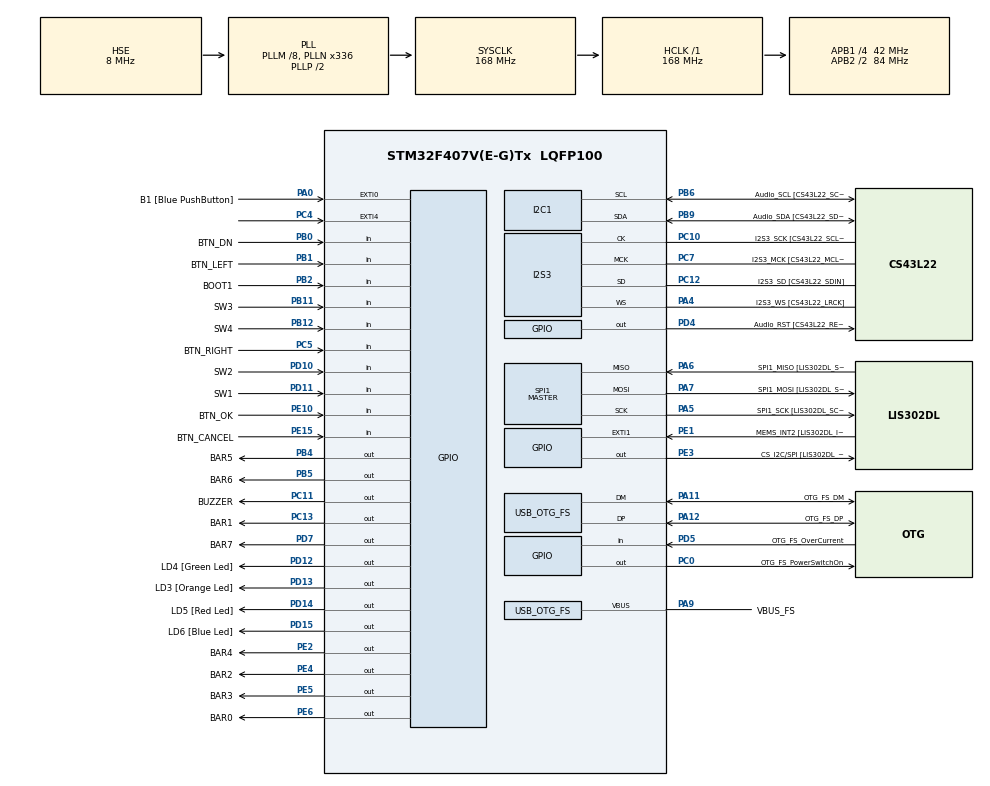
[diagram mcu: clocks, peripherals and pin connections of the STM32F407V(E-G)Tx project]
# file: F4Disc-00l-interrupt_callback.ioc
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I2S3.AudioFreq-Half_Duplex_Master=I2S_AUDIOFREQ_96K
I2S3.ErrorAudioFreq=-2.34 %
I2S3.ErrorAudioFreq-Half_Duplex_Master=0.8 %
I2S3.FullDuplexMode=I2S_FULLDUPLEXMODE_DISABLE
I2S3.Instance=SPI$Index
I2S3.RealAudioFreq=93.75 KHz
I2S3.RealAudioFreq-Half_Duplex_Master=96.774 KHz
I2S3.VirtualMode=I2S_MODE_MASTER
Mcu.Family=STM32F4
Mcu.Name=STM32F407V(E-G)Tx
Mcu.Package=LQFP100
NVIC.EXTI4_IRQn=true\:0\:2\:false\:false\:true\:true\:true\:true
NVIC.OTG_FS_IRQn=true\:0\:0\:false\:false\:true\:true\:true\:true
NVIC.PriorityGroup=NVIC_PRIORITYGROUP_0
PA0-WKUP.GPIO_Label=B1 [Blue PushButton]
PA0-WKUP.GPIO_ModeDefaultEXTI=GPIO_MODE_EVT_RISING
PA0-WKUP.GPIO_PuPd=GPIO_NOPULL
PA0-WKUP.Signal=GPXTI0
PA10.GPIO_Label=OTG_FS_ID
PA10.GPIO_Mode=GPIO_MODE_AF_PP
PA10.GPIO_PuPd=GPIO_NOPULL
PA10.GPIO_Speed=GPIO_SPEED_FREQ_LOW
PA10.Signal=USB_OTG_FS_ID
PA11.GPIO_Label=OTG_FS_DM
PA11.GPIO_Mode=GPIO_MODE_AF_PP
PA11.GPIO_PuPd=GPIO_NOPULL
PA11.GPIO_Speed=GPIO_SPEED_FREQ_LOW
PA11.Mode=Device_Only
PA11.Signal=USB_OTG_FS_DM
PA12.GPIO_Label=OTG_FS_DP
PA12.GPIO_Mode=GPIO_MODE_AF_PP
PA12.GPIO_PuPd=GPIO_NOPULL
PA12.GPIO_Speed=GPIO_SPEED_FREQ_LOW
PA12.Mode=Device_Only
PA12.Signal=USB_OTG_FS_DP
PA13.GPIO_Label=SWDIO
PA13.Mode=Serial_Wire
PA13.Signal=SYS_JTMS-SWDIO
PA14.GPIO_Label=SWCLK
PA14.Mode=Serial_Wire
PA14.Signal=SYS_JTCK-SWCLK
PA4.GPIO_Label=I2S3_WS [CS43L22_LRCK]
PA4.GPIO_Mode=GPIO_MODE_AF_PP
PA4.GPIO_PuPd=GPIO_NOPULL
PA4.GPIO_Speed=GPIO_SPEED_FREQ_LOW
PA4.Mode=Half_Duplex_Master
PA4.Signal=I2S3_WS
PA5.GPIO_Label=SPI1_SCK [LIS302DL_SCL/SPC]
PA5.GPIO_Mode=GPIO_MODE_AF_PP
PA5.GPIO_PuPd=GPIO_NOPULL
PA5.GPIO_Speed=GPIO_SPEED_FREQ_LOW
PA5.Mode=Full_Duplex_Master
PA5.Signal=SPI1_SCK
PA6.GPIO_Label=SPI1_MISO [LIS302DL_SDO]
PA6.GPIO_Mode=GPIO_MODE_AF_PP
PA6.GPIO_PuPd=GPIO_NOPULL
PA6.GPIO_Speed=GPIO_SPEED_FREQ_LOW
PA6.Mode=Full_Duplex_Master
PA6.Signal=SPI1_MISO
PA7.GPIO_Label=SPI1_MOSI [LIS302DL_SDA/SDI/SDO]
PA7.GPIO_Mode=GPIO_MODE_AF_PP
PA7.GPIO_PuPd=GPIO_NOPULL
PA7.GPIO_Speed=GPIO_SPEED_FREQ_LOW
PA7.Mode=Full_Duplex_Master
PA7.Signal=SPI1_MOSI
PA9.GPIO_Label=VBUS_FS
PA9.GPIO_Mode=GPIO_MODE_INPUT
PA9.GPIO_PuPd=GPIO_NOPULL
PA9.Mode=Activate_VBUS
PA9.Signal=USB_OTG_FS_VBUS
PB0.GPIO_Label=BTN_DN
PB0.GPIO_PuPd=GPIO_PULLUP
PB0.Signal=GPIO_Input
PB1.GPIO_Label=BTN_LEFT
PB1.GPIO_PuPd=GPIO_PULLUP
PB1.Signal=GPIO_Input
PB10.GPIO_Label=CLK_IN [MP45DT02_CLK]
PB10.GPIO_Mode=GPIO_MODE_AF_PP
PB10.GPIO_PuPd=GPIO_NOPULL
PB10.GPIO_Speed=GPIO_SPEED_FREQ_LOW
PB10.Signal=I2S2_CK
PB11.GPIO_Label=SW3
PB11.GPIO_PuPd=GPIO_PULLUP
PB11.Signal=GPIO_Input
PB12.GPIO_Label=SW4
PB12.GPIO_PuPd=GPIO_PULLUP
PB12.Signal=GPIO_Input
PB2.GPIO_Label=BOOT1
PB2.GPIO_Mode=GPIO_MODE_INPUT
PB2.GPIO_PuPd=GPIO_NOPULL
PB2.Signal=GPIO_Input
PB3.GPIO_Label=SWO
PB3.Signal=SYS_JTDO-SWO
PB4.GPIO_Label=BAR5
PB4.Signal=GPIO_Output
PB5.GPIO_Label=BAR6
PB5.Signal=GPIO_Output
PB6.GPIO_Label=Audio_SCL [CS43L22_SCL]
PB6.GPIO_Mode=GPIO_MODE_AF_OD
PB6.GPIO_Pu=GPIO_PULLUP
PB6.GPIO_PuPd=GPIO_NOPULL
PB6.GPIO_Speed=GPIO_SPEED_FREQ_LOW
PB6.Mode=I2C
PB6.Signal=I2C1_SCL
PB9.GPIO_Label=Audio_SDA [CS43L22_SDA]
PB9.GPIO_Mode=GPIO_MODE_AF_OD
PB9.GPIO_Pu=GPIO_PULLUP
PB9.GPIO_PuPd=GPIO_NOPULL
PB9.GPIO_Speed=GPIO_SPEED_FREQ_LOW
PB9.Mode=I2C
PB9.Signal=I2C1_SDA
PC0.GPIO_Label=OTG_FS_PowerSwitchOn
PC0.GPIO_PuPd=GPIO_NOPULL
PC0.GPIO_Speed=GPIO_SPEED_FREQ_LOW
PC0.PinState=GPIO_PIN_SET
PC0.Signal=GPIO_Output
PC10.GPIO_Label=I2S3_SCK [CS43L22_SCLK]
PC10.GPIO_Mode=GPIO_MODE_AF_PP
PC10.GPIO_PuPd=GPIO_NOPULL
PC10.GPIO_Speed=GPIO_SPEED_FREQ_LOW
PC10.Mode=Half_Duplex_Master
PC10.Signal=I2S3_CK
PC11.GPIO_Label=BUZZER
PC11.Signal=GPIO_Output
PC12.GPIO_Label=I2S3_SD [CS43L22_SDIN]
PC12.GPIO_Mode=GPIO_MODE_AF_PP
PC12.GPIO_PuPd=GPIO_NOPULL
PC12.GPIO_Speed=GPIO_SPEED_FREQ_LOW
PC12.Mode=Half_Duplex_Master
PC12.Signal=I2S3_SD
PC13-ANTI_TAMP.GPIO_Label=BAR1
PC13-ANTI_TAMP.Signal=GPIO_Output
PC14-OSC32_IN.GPIO_Label=PC14-OSC32_IN
PC14-OSC32_IN.Mode=LSE-External-Oscillator
PC14-OSC32_IN.Signal=RCC_OSC32_IN
PC15-OSC32_OUT.GPIO_Label=PC15-OSC32_OUT
PC15-OSC32_OUT.Mode=LSE-External-Oscillator
PC15-OSC32_OUT.Signal=RCC_OSC32_OUT
PC3.GPIO_Label=PDM_OUT [MP45DT02_DOUT]
PC3.GPIO_Mode=GPIO_MODE_AF_PP
PC3.GPIO_PuPd=GPIO_NOPULL
PC3.GPIO_Speed=GPIO_SPEED_FREQ_LOW
PC3.Signal=I2S2_SD
PC4.GPIO_ModeDefaultEXTI=GPIO_MODE_IT_FALLING
PC4.GPIO_PuPd=GPIO_PULLUP
PC4.Signal=GPXTI4
PC5.GPIO_Label=BTN_RIGHT
PC5.GPIO_PuPd=GPIO_PULLUP
PC5.Signal=GPIO_Input
PC7.GPIO_Label=I2S3_MCK [CS43L22_MCLK]
PC7.GPIO_Mode=GPIO_MODE_AF_PP
PC7.GPIO_PuPd=GPIO_NOPULL
PC7.GPIO_Speed=GPIO_SPEED_FREQ_LOW
PC7.Mode=Master_Clock_Activated
PC7.Signal=I2S3_MCK
PD10.GPIO_Label=SW2
PD10.GPIO_PuPd=GPIO_PULLUP
PD10.Signal=GPIO_Input
PD11.GPIO_Label=SW1
PD11.GPIO_PuPd=GPIO_PULLUP
PD11.Signal=GPIO_Input
PD12.GPIO_Label=LD4 [Green Led]
PD12.GPIO_PuPd=GPIO_NOPULL
PD12.GPIO_Speed=GPIO_SPEED_FREQ_LOW
PD12.Signal=GPIO_Output
PD13.GPIO_Label=LD3 [Orange Led]
PD13.GPIO_PuPd=GPIO_NOPULL
PD13.GPIO_Speed=GPIO_SPEED_FREQ_LOW
PD13.Signal=GPIO_Output
PD14.GPIO_Label=LD5 [Red Led]
PD14.GPIO_PuPd=GPIO_NOPULL
PD14.GPIO_Speed=GPIO_SPEED_FREQ_LOW
PD14.Signal=GPIO_Output
PD15.GPIO_Label=LD6 [Blue Led]
PD15.GPIO_PuPd=GPIO_NOPULL
PD15.GPIO_Speed=GPIO_SPEED_FREQ_LOW
PD15.Signal=GPIO_Output
PD4.GPIO_Label=Audio_RST [CS43L22_RESET]
PD4.GPIO_PuPd=GPIO_NOPULL
PD4.GPIO_Speed=GPIO_SPEED_FREQ_LOW
PD4.Signal=GPIO_Output
PD5.GPIO_Label=OTG_FS_OverCurrent
PD5.GPIO_Mode=GPIO_MODE_INPUT
PD5.GPIO_PuPd=GPIO_NOPULL
PD5.Signal=GPIO_Input
PD7.GPIO_Label=BAR7
PD7.Signal=GPIO_Output
PE1.GPIO_Label=MEMS_INT2 [LIS302DL_INT2]
PE1.GPIO_ModeDefaultEXTI=GPIO_MODE_EVT_RISING
PE1.GPIO_PuPd=GPIO_NOPULL
PE1.Signal=GPXTI1
PE10.GPIO_Label=BTN_OK
PE10.GPIO_PuPd=GPIO_PULLUP
PE10.Signal=GPIO_Input
PE15.GPIO_Label=BTN_CANCEL
PE15.GPIO_PuPd=GPIO_PULLUP
PE15.Signal=GPIO_Input
PE2.GPIO_Label=BAR4
PE2.Signal=GPIO_Output
PE3.GPIO_Label=CS_I2C/SPI [LIS302DL_CS_I2C/SPI]
PE3.GPIO_PuPd=GPIO_NOPULL
PE3.GPIO_Speed=GPIO_SPEED_FREQ_LOW
PE3.Signal=GPIO_Output
PE4.GPIO_Label=BAR2
PE4.Signal=GPIO_Output
PE5.GPIO_Label=BAR3
PE5.Signal=GPIO_Output
PE6.GPIO_Label=BAR0
PE6.Signal=GPIO_Output
PH0-OSC_IN.GPIO_Label=PH0-OSC_IN
PH0-OSC_IN.Mode=HSE-External-Oscillator
PH0-OSC_IN.Signal=RCC_OSC_IN
PH1-OSC_OUT.GPIO_Label=PH1-OSC_OUT
PH1-OSC_OUT.Mode=HSE-External-Oscillator
PH1-OSC_OUT.Signal=RCC_OSC_OUT
ProjectManager.HeapSize=0x200
ProjectManager.StackSize=0x400
ProjectManager.TargetToolchain=STM32CubeIDE
RCC.48MHZClocksFreq_Value=48000000
RCC.AHBFreq_Value=168000000
RCC.APB1CLKDivider=RCC_HCLK_DIV4
RCC.APB1Freq_Value=42000000
RCC.APB1TimFreq_Value=84000000
RCC.APB2CLKDivider=RCC_HCLK_DIV2
RCC.APB2Freq_Value=84000000
RCC.APB2TimFreq_Value=168000000
RCC.CortexFreq_Value=168000000
RCC.HCLKFreq_Value=168000000
RCC.HSE_VALUE=8000000
RCC.HSI_VALUE=16000000
RCC.PLLM=8
RCC.PLLN=336
RCC.PLLQ=7
RCC.SYSCLKFreq_VALUE=168000000
RCC.SYSCLKSource=RCC_SYSCLKSOURCE_PLLCLK
RCC.VCOOutputFreq_Value=336000000
SPI1.BaudRatePrescaler-Full_Duplex_Master=SPI_BAUDRATEPRESCALER_2
SPI1.CalculateBaudRate-Full_Duplex_Master=42.0 MBits/s
SPI1.Direction=SPI_DIRECTION_2LINES
SPI1.Mode=SPI_MODE_MASTER
SPI1.Mode-Full_Duplex_Master=SPI_MODE_MASTER
SPI1.VirtualType=VM_MASTER
USB_DEVICE.CLASS_NAME_FS=CDC
USB_DEVICE.VirtualMode-CDC_FS=Cdc
USB_DEVICE.VirtualModeFS=Cdc_FS
USB_OTG_FS.VirtualMode=Device_Only
VP_USB_DEVICE_VS_USB_DEVICE_CDC_FS.Mode=CDC_FS
board=STM32F407G-DISC1

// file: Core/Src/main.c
/* USER CODE BEGIN Header */
/**
  ******************************************************************************
  * @file           : main.c
  * @brief          : Main program body
  ******************************************************************************
  * @attention
  *
  * Copyright (c) 2023 STMicroelectronics.
  * All rights reserved.
  *
  * This software is licensed under terms that can be found in the LICENSE file
  * in the root directory of this software component.
  * If no LICENSE file comes with this software, it is provided AS-IS.
  *
  ******************************************************************************
  */
/* USER CODE END Header */
#include "main.h"
#include "usb_device.h"

/* USER CODE BEGIN Includes */
#include <stdio.h>
/* USER CODE END Includes */

I2C_HandleTypeDef hi2c1;

I2S_HandleTypeDef hi2s3;

SPI_HandleTypeDef hspi1;

/* USER CODE BEGIN PV */
uint32_t mstick=0;
/* USER CODE END PV */

void SystemClock_Config(void);
static void MX_GPIO_Init(void);
static void MX_I2C1_Init(void);
static void MX_I2S3_Init(void);
static void MX_SPI1_Init(void);
/* USER CODE BEGIN PFP */
extern uint8_t CDC_Transmit_FS(uint8_t* Buf, uint16_t Len);

int _write(int file, char *ptr, int len) {
    CDC_Transmit_FS((uint8_t*) ptr, len); return len;
}

void HAL_GPIO_EXTI_Callback(uint16_t GPIO_Pin)
{
	__asm("CPSIE i");
   if (GPIO_Pin==GPIO_PIN_4) {
	   printf("external interupt occour in pin %x \n\r",GPIO_Pin);
   }

}

/* USER CODE END PFP */

int main(void)
{

  /* MCU Configuration--------------------------------------------------------*/

  /* Reset of all peripherals, Initializes the Flash interface and the Systick. */
  HAL_Init();

  /* Configure the system clock */
  SystemClock_Config();

  /* Initialize all configured peripherals */
  MX_GPIO_Init();
  MX_I2C1_Init();
  MX_I2S3_Init();
  MX_SPI1_Init();
  MX_USB_DEVICE_Init();
  /* USER CODE BEGIN 2 */
  HAL_Delay(5000);
  printf("Cek BarLED, buzzer, USER LED \n\r");
  HAL_Delay(1000);
  for (uint8_t cnt=0;cnt<8;cnt++){

	  HAL_GPIO_TogglePin(BAR0_GPIO_Port, BAR0_Pin);
	  HAL_GPIO_TogglePin(BAR1_GPIO_Port, BAR1_Pin);
	  HAL_GPIO_TogglePin(BAR2_GPIO_Port, BAR2_Pin);
	  HAL_GPIO_TogglePin(BAR3_GPIO_Port, BAR3_Pin);
	  HAL_GPIO_TogglePin(BAR4_GPIO_Port, BAR4_Pin);
	  HAL_GPIO_TogglePin(BAR5_GPIO_Port, BAR5_Pin);
	  HAL_GPIO_TogglePin(BAR6_GPIO_Port, BAR6_Pin);
	  HAL_GPIO_TogglePin(BAR7_GPIO_Port, BAR7_Pin);

	  HAL_GPIO_TogglePin(BUZZER_GPIO_Port, BUZZER_Pin);
	  HAL_GPIO_TogglePin(LD3_GPIO_Port, LD3_Pin);
	  HAL_GPIO_TogglePin(LD4_GPIO_Port, LD4_Pin);
	  HAL_GPIO_TogglePin(LD5_GPIO_Port, LD5_Pin);
	  HAL_GPIO_TogglePin(LD6_GPIO_Port, LD6_Pin);
	  printf("count: %d \n\r",cnt);
	  HAL_Delay(100);
	  HAL_InitTick(2);
  }

  printf("Cek Button \n\r");
  /* USER CODE END 2 */

  /* Infinite loop */
  while (1)
  {

    /* USER CODE BEGIN 3 */
	    /* USER CODE BEGIN 3 */

  }
  /* USER CODE END 3 */
}

void SystemClock_Config(void)
{
  RCC_OscInitTypeDef RCC_OscInitStruct = {0};
  RCC_ClkInitTypeDef RCC_ClkInitStruct = {0};

  /** Configure the main internal regulator output voltage
  */
  __HAL_RCC_PWR_CLK_ENABLE();
  __HAL_PWR_VOLTAGESCALING_CONFIG(PWR_REGULATOR_VOLTAGE_SCALE1);

  /** Initializes the RCC Oscillators according to the specified parameters
  * in the RCC_OscInitTypeDef structure.
  */
  RCC_OscInitStruct.OscillatorType = RCC_OSCILLATORTYPE_HSE;
  RCC_OscInitStruct.HSEState = RCC_HSE_ON;
  RCC_OscInitStruct.PLL.PLLState = RCC_PLL_ON;
  RCC_OscInitStruct.PLL.PLLSource = RCC_PLLSOURCE_HSE;
  RCC_OscInitStruct.PLL.PLLM = 8;
  RCC_OscInitStruct.PLL.PLLN = 336;
  RCC_OscInitStruct.PLL.PLLP = RCC_PLLP_DIV2;
  RCC_OscInitStruct.PLL.PLLQ = 7;
  if (HAL_RCC_OscConfig(&RCC_OscInitStruct) != HAL_OK)
  {
    Error_Handler();
  }

  /** Initializes the CPU, AHB and APB buses clocks
  */
  RCC_ClkInitStruct.ClockType = RCC_CLOCKTYPE_HCLK|RCC_CLOCKTYPE_SYSCLK
                              |RCC_CLOCKTYPE_PCLK1|RCC_CLOCKTYPE_PCLK2;
  RCC_ClkInitStruct.SYSCLKSource = RCC_SYSCLKSOURCE_PLLCLK;
  RCC_ClkInitStruct.AHBCLKDivider = RCC_SYSCLK_DIV1;
  RCC_ClkInitStruct.APB1CLKDivider = RCC_HCLK_DIV4;
  RCC_ClkInitStruct.APB2CLKDivider = RCC_HCLK_DIV2;

  if (HAL_RCC_ClockConfig(&RCC_ClkInitStruct, FLASH_LATENCY_5) != HAL_OK)
  {
    Error_Handler();
  }
}

static void MX_I2C1_Init(void)
{

  hi2c1.Instance = I2C1;
  hi2c1.Init.ClockSpeed = 100000;
  hi2c1.Init.DutyCycle = I2C_DUTYCYCLE_2;
  hi2c1.Init.OwnAddress1 = 0;
  hi2c1.Init.AddressingMode = I2C_ADDRESSINGMODE_7BIT;
  hi2c1.Init.DualAddressMode = I2C_DUALADDRESS_DISABLE;
  hi2c1.Init.OwnAddress2 = 0;
  hi2c1.Init.GeneralCallMode = I2C_GENERALCALL_DISABLE;
  hi2c1.Init.NoStretchMode = I2C_NOSTRETCH_DISABLE;
  if (HAL_I2C_Init(&hi2c1) != HAL_OK)
  {
    Error_Handler();
  }

}

static void MX_I2S3_Init(void)
{

  hi2s3.Instance = SPI3;
  hi2s3.Init.Mode = I2S_MODE_MASTER_TX;
  hi2s3.Init.Standard = I2S_STANDARD_PHILIPS;
  hi2s3.Init.DataFormat = I2S_DATAFORMAT_16B;
  hi2s3.Init.MCLKOutput = I2S_MCLKOUTPUT_ENABLE;
  hi2s3.Init.AudioFreq = I2S_AUDIOFREQ_96K;
  hi2s3.Init.CPOL = I2S_CPOL_LOW;
  hi2s3.Init.ClockSource = I2S_CLOCK_PLL;
  hi2s3.Init.FullDuplexMode = I2S_FULLDUPLEXMODE_DISABLE;
  if (HAL_I2S_Init(&hi2s3) != HAL_OK)
  {
    Error_Handler();
  }

}

static void MX_SPI1_Init(void)
{

  /* SPI1 parameter configuration*/
  hspi1.Instance = SPI1;
  hspi1.Init.Mode = SPI_MODE_MASTER;
  hspi1.Init.Direction = SPI_DIRECTION_2LINES;
  hspi1.Init.DataSize = SPI_DATASIZE_8BIT;
  hspi1.Init.CLKPolarity = SPI_POLARITY_LOW;
  hspi1.Init.CLKPhase = SPI_PHASE_1EDGE;
  hspi1.Init.NSS = SPI_NSS_SOFT;
  hspi1.Init.BaudRatePrescaler = SPI_BAUDRATEPRESCALER_2;
  hspi1.Init.FirstBit = SPI_FIRSTBIT_MSB;
  hspi1.Init.TIMode = SPI_TIMODE_DISABLE;
  hspi1.Init.CRCCalculation = SPI_CRCCALCULATION_DISABLE;
  hspi1.Init.CRCPolynomial = 10;
  if (HAL_SPI_Init(&hspi1) != HAL_OK)
  {
    Error_Handler();
  }

}

static void MX_GPIO_Init(void)
{
  GPIO_InitTypeDef GPIO_InitStruct = {0};

  /* GPIO Ports Clock Enable */
  __HAL_RCC_GPIOE_CLK_ENABLE();
  __HAL_RCC_GPIOC_CLK_ENABLE();
  __HAL_RCC_GPIOH_CLK_ENABLE();
  __HAL_RCC_GPIOA_CLK_ENABLE();
  __HAL_RCC_GPIOB_CLK_ENABLE();
  __HAL_RCC_GPIOD_CLK_ENABLE();

  /*Configure GPIO pin Output Level */
  HAL_GPIO_WritePin(GPIOE, BAR4_Pin|CS_I2C_SPI_Pin|BAR2_Pin|BAR3_Pin
                          |BAR0_Pin, GPIO_PIN_RESET);

  /*Configure GPIO pin Output Level */
  HAL_GPIO_WritePin(GPIOC, BAR1_Pin|BUZZER_Pin, GPIO_PIN_RESET);

  /*Configure GPIO pin Output Level */
  HAL_GPIO_WritePin(OTG_FS_PowerSwitchOn_GPIO_Port, OTG_FS_PowerSwitchOn_Pin, GPIO_PIN_SET);

  /*Configure GPIO pin Output Level */
  HAL_GPIO_WritePin(GPIOD, LD4_Pin|LD3_Pin|LD5_Pin|LD6_Pin
                          |Audio_RST_Pin|BAR7_Pin, GPIO_PIN_RESET);

  /*Configure GPIO pin Output Level */
  HAL_GPIO_WritePin(GPIOB, BAR5_Pin|BAR6_Pin, GPIO_PIN_RESET);

  /*Configure GPIO pins : BAR4_Pin CS_I2C_SPI_Pin BAR2_Pin BAR3_Pin
                           BAR0_Pin */
  GPIO_InitStruct.Pin = BAR4_Pin|CS_I2C_SPI_Pin|BAR2_Pin|BAR3_Pin
                          |BAR0_Pin;
  GPIO_InitStruct.Mode = GPIO_MODE_OUTPUT_PP;
  GPIO_InitStruct.Pull = GPIO_NOPULL;
  GPIO_InitStruct.Speed = GPIO_SPEED_FREQ_LOW;
  HAL_GPIO_Init(GPIOE, &GPIO_InitStruct);

  /*Configure GPIO pins : BAR1_Pin OTG_FS_PowerSwitchOn_Pin BUZZER_Pin */
  GPIO_InitStruct.Pin = BAR1_Pin|OTG_FS_PowerSwitchOn_Pin|BUZZER_Pin;
  GPIO_InitStruct.Mode = GPIO_MODE_OUTPUT_PP;
  GPIO_InitStruct.Pull = GPIO_NOPULL;
  GPIO_InitStruct.Speed = GPIO_SPEED_FREQ_LOW;
  HAL_GPIO_Init(GPIOC, &GPIO_InitStruct);

  /*Configure GPIO pin : PDM_OUT_Pin */
  GPIO_InitStruct.Pin = PDM_OUT_Pin;
  GPIO_InitStruct.Mode = GPIO_MODE_AF_PP;
  GPIO_InitStruct.Pull = GPIO_NOPULL;
  GPIO_InitStruct.Speed = GPIO_SPEED_FREQ_LOW;
  GPIO_InitStruct.Alternate = GPIO_AF5_SPI2;
  HAL_GPIO_Init(PDM_OUT_GPIO_Port, &GPIO_InitStruct);

  /*Configure GPIO pin : B1_Pin */
  GPIO_InitStruct.Pin = B1_Pin;
  GPIO_InitStruct.Mode = GPIO_MODE_EVT_RISING;
  GPIO_InitStruct.Pull = GPIO_NOPULL;
  HAL_GPIO_Init(B1_GPIO_Port, &GPIO_InitStruct);

  /*Configure GPIO pin : PC4 */
  GPIO_InitStruct.Pin = GPIO_PIN_4;
  GPIO_InitStruct.Mode = GPIO_MODE_IT_FALLING;
  GPIO_InitStruct.Pull = GPIO_PULLUP;
  HAL_GPIO_Init(GPIOC, &GPIO_InitStruct);

  /*Configure GPIO pin : BTN_RIGHT_Pin */
  GPIO_InitStruct.Pin = BTN_RIGHT_Pin;
  GPIO_InitStruct.Mode = GPIO_MODE_INPUT;
  GPIO_InitStruct.Pull = GPIO_PULLUP;
  HAL_GPIO_Init(BTN_RIGHT_GPIO_Port, &GPIO_InitStruct);

  /*Configure GPIO pins : BTN_DN_Pin BTN_LEFT_Pin SW3_Pin SW4_Pin */
  GPIO_InitStruct.Pin = BTN_DN_Pin|BTN_LEFT_Pin|SW3_Pin|SW4_Pin;
  GPIO_InitStruct.Mode = GPIO_MODE_INPUT;
  GPIO_InitStruct.Pull = GPIO_PULLUP;
  HAL_GPIO_Init(GPIOB, &GPIO_InitStruct);

  /*Configure GPIO pin : BOOT1_Pin */
  GPIO_InitStruct.Pin = BOOT1_Pin;
  GPIO_InitStruct.Mode = GPIO_MODE_INPUT;
  GPIO_InitStruct.Pull = GPIO_NOPULL;
  HAL_GPIO_Init(BOOT1_GPIO_Port, &GPIO_InitStruct);

  /*Configure GPIO pins : BTN_OK_Pin BTN_CANCEL_Pin */
  GPIO_InitStruct.Pin = BTN_OK_Pin|BTN_CANCEL_Pin;
  GPIO_InitStruct.Mode = GPIO_MODE_INPUT;
  GPIO_InitStruct.Pull = GPIO_PULLUP;
  HAL_GPIO_Init(GPIOE, &GPIO_InitStruct);

  /*Configure GPIO pin : CLK_IN_Pin */
  GPIO_InitStruct.Pin = CLK_IN_Pin;
  GPIO_InitStruct.Mode = GPIO_MODE_AF_PP;
  GPIO_InitStruct.Pull = GPIO_NOPULL;
  GPIO_InitStruct.Speed = GPIO_SPEED_FREQ_LOW;
  GPIO_InitStruct.Alternate = GPIO_AF5_SPI2;
  HAL_GPIO_Init(CLK_IN_GPIO_Port, &GPIO_InitStruct);

  /*Configure GPIO pins : SW2_Pin SW1_Pin */
  GPIO_InitStruct.Pin = SW2_Pin|SW1_Pin;
  GPIO_InitStruct.Mode = GPIO_MODE_INPUT;
  GPIO_InitStruct.Pull = GPIO_PULLUP;
  HAL_GPIO_Init(GPIOD, &GPIO_InitStruct);

  /*Configure GPIO pins : LD4_Pin LD3_Pin LD5_Pin LD6_Pin
                           Audio_RST_Pin BAR7_Pin */
  GPIO_InitStruct.Pin = LD4_Pin|LD3_Pin|LD5_Pin|LD6_Pin
                          |Audio_RST_Pin|BAR7_Pin;
  GPIO_InitStruct.Mode = GPIO_MODE_OUTPUT_PP;
  GPIO_InitStruct.Pull = GPIO_NOPULL;
  GPIO_InitStruct.Speed = GPIO_SPEED_FREQ_LOW;
  HAL_GPIO_Init(GPIOD, &GPIO_InitStruct);

  /*Configure GPIO pin : OTG_FS_OverCurrent_Pin */
  GPIO_InitStruct.Pin = OTG_FS_OverCurrent_Pin;
  GPIO_InitStruct.Mode = GPIO_MODE_INPUT;
  GPIO_InitStruct.Pull = GPIO_NOPULL;
  HAL_GPIO_Init(OTG_FS_OverCurrent_GPIO_Port, &GPIO_InitStruct);

  /*Configure GPIO pins : BAR5_Pin BAR6_Pin */
  GPIO_InitStruct.Pin = BAR5_Pin|BAR6_Pin;
  GPIO_InitStruct.Mode = GPIO_MODE_OUTPUT_PP;
  GPIO_InitStruct.Pull = GPIO_NOPULL;
  GPIO_InitStruct.Speed = GPIO_SPEED_FREQ_LOW;
  HAL_GPIO_Init(GPIOB, &GPIO_InitStruct);

  /*Configure GPIO pin : MEMS_INT2_Pin */
  GPIO_InitStruct.Pin = MEMS_INT2_Pin;
  GPIO_InitStruct.Mode = GPIO_MODE_EVT_RISING;
  GPIO_InitStruct.Pull = GPIO_NOPULL;
  HAL_GPIO_Init(MEMS_INT2_GPIO_Port, &GPIO_InitStruct);

  /* EXTI interrupt init*/
  HAL_NVIC_SetPriority(EXTI4_IRQn, 1, 0);
  HAL_NVIC_SetPriority(SysTick_IRQn, 0, 0);
  HAL_NVIC_EnableIRQ(EXTI4_IRQn);

}

void Error_Handler(void)
{
  __disable_irq();
  while (1)
  {
  }
}
